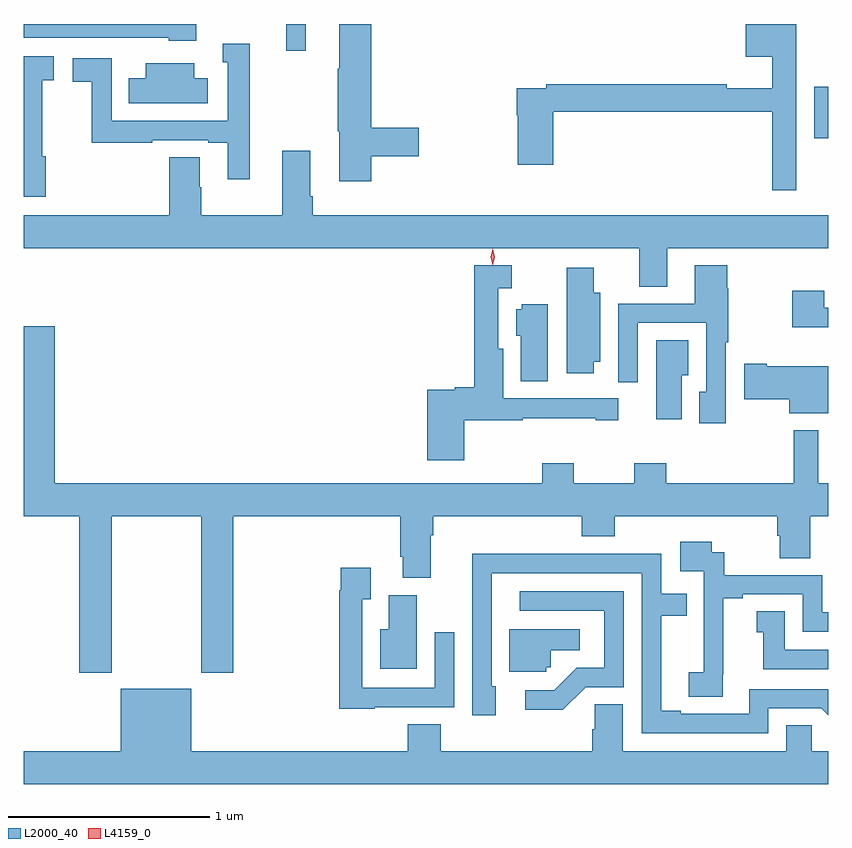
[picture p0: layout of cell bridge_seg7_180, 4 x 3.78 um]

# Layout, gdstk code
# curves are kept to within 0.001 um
import gdstk
lib = gdstk.Library(unit=1e-6, precision=1e-09)
def R(c, l, rs):  # rectangles x0, y0, x1, y1
    for r in rs: c.add(gdstk.rectangle(r[:2], r[2:], *l))
def P(c, l, *ps):  # polygons
    for p in ps: c.add(gdstk.Polygon(p, *l))
L2000_40 = (2000, 40)
L4159_0 = (4159, 0)

bridge_seg7_180 = lib.new_cell('bridge_seg7_180')
R(bridge_seg7_180, L2000_40, [(448.751,1054.445,448.821,1054.699), (446.127,1054.878,446.224,1055.012)])
P(bridge_seg7_180, L2000_40, [(448.663,1055.012),(448.412,1055.012),(448.412,1054.85),(448.542,1054.85),(448.542,1054.693),(448.316,1054.693),(448.316,1054.712),(447.418,1054.712),(447.418,1054.692),(447.272,1054.692),(447.272,1054.559),(447.277,1054.559),(447.277,1054.311),(447.455,1054.311),(447.455,1054.576),(448.542,1054.576),(448.542,1054.185),(448.663,1054.185)],
  [(446.549,1054.354),(446.785,1054.354),(446.785,1054.496),(446.549,1054.496),(446.549,1055.012),(446.39,1055.012),(446.39,1054.79),(446.383,1054.79),(446.383,1054.479),(446.39,1054.479),(446.39,1054.23),(446.549,1054.23)],
  [(445.678,1055.012),(444.821,1055.012),(444.821,1054.944),(445.542,1054.944),(445.542,1054.928),(445.678,1054.928)],
  [(445.945,1054.915),(445.811,1054.915),(445.811,1054.821),(445.836,1054.821),(445.836,1054.53),(445.257,1054.53),(445.257,1054.842),(445.065,1054.842),(445.065,1054.726),(445.159,1054.726),(445.159,1054.422),(445.46,1054.422),(445.46,1054.434),(445.739,1054.434),(445.739,1054.422),(445.835,1054.422),(445.835,1054.239),(445.945,1054.239)],
  [(444.929,1054.355),(444.912,1054.355),(444.912,1054.731),(444.97,1054.731),(444.97,1054.852),(444.821,1054.852),(444.821,1054.152),(444.929,1054.152)],
  [(445.735,1054.741),(445.669,1054.741),(445.669,1054.816),(445.427,1054.816),(445.427,1054.741),(445.342,1054.741),(445.342,1054.619),(445.735,1054.619)],
  [(446.105,1054.381),(446.105,1054.06),(445.704,1054.06),(445.704,1054.199),(445.696,1054.199),(445.696,1054.349),(445.544,1054.349),(445.544,1054.06),(444.821,1054.06),(444.821,1053.896),(447.881,1053.896),(447.881,1053.706),(448.021,1053.706),(448.021,1053.896),(448.821,1053.896),(448.821,1054.06),(446.258,1054.06),(446.258,1054.156),(446.245,1054.156),(446.245,1054.381)],
  [(448.311,1053.428),(448.324,1053.428),(448.324,1053.698),(448.32,1053.698),(448.32,1053.811),(448.157,1053.811),(448.157,1053.621),(447.777,1053.621),(447.777,1053.231),(447.873,1053.231),(447.873,1053.525),(448.215,1053.525),(448.215,1053.183),(448.181,1053.183),(448.181,1053.027),(448.311,1053.027)],
  [(447.011,1053.042),(447.301,1053.042),(447.301,1053.052),(447.665,1053.052),(447.665,1053.042),(447.777,1053.042),(447.777,1053.15),(447.205,1053.15),(447.205,1053.396),(447.181,1053.396),(447.181,1053.698),(447.247,1053.698),(447.247,1053.811),(447.06,1053.811),(447.06,1053.206),(446.963,1053.206),(446.963,1053.193),(446.828,1053.193),(446.828,1052.841),(447.011,1052.841)],
  [(447.655,1053.332),(447.688,1053.332),(447.688,1053.676),(447.655,1053.676),(447.655,1053.799),(447.521,1053.799),(447.521,1053.276),(447.655,1053.276)],
  [(448.821,1053.601),(448.802,1053.601),(448.802,1053.685),(448.642,1053.685),(448.642,1053.503),(448.821,1053.503)],
  [(447.427,1053.619),(447.297,1053.619),(447.297,1053.594),(447.269,1053.594),(447.269,1053.462),(447.293,1053.462),(447.293,1053.235),(447.427,1053.235)],
  [(445.257,1052.564),(445.702,1052.564),(445.702,1051.785),(445.862,1051.785),(445.862,1052.564),(446.693,1052.564),(446.693,1052.362),(446.705,1052.362),(446.705,1052.257),(446.845,1052.257),(446.845,1052.468),(446.858,1052.468),(446.858,1052.564),(447.596,1052.564),(447.596,1052.465),(447.761,1052.465),(447.761,1052.564),(448.568,1052.564),(448.568,1052.466),(448.58,1052.466),(448.58,1052.356),(448.733,1052.356),(448.733,1052.564),(448.821,1052.564),(448.821,1052.728),(448.772,1052.728),(448.772,1052.992),(448.651,1052.992),(448.651,1052.728),(448.016,1052.728),(448.016,1052.827),(447.856,1052.827),(447.856,1052.728),(447.555,1052.728),(447.555,1052.827),(447.4,1052.827),(447.4,1052.728),(444.974,1052.728),(444.974,1053.508),(444.821,1053.508),(444.821,1052.564),(445.097,1052.564),(445.097,1051.785),(445.257,1051.785)],
  [(448.093,1053.266),(448.126,1053.266),(448.126,1053.44),(447.965,1053.44),(447.965,1053.045),(448.093,1053.045)],
  [(448.821,1053.31),(448.516,1053.31),(448.516,1053.323),(448.404,1053.323),(448.404,1053.145),(448.628,1053.145),(448.628,1053.077),(448.821,1053.077)],
  [(448.298,1051.777),(448.3,1051.777),(448.3,1052.155),(448.396,1052.155),(448.396,1052.175),(448.695,1052.175),(448.695,1051.989),(448.821,1051.989),(448.821,1052.085),(448.791,1052.085),(448.791,1052.271),(448.304,1052.271),(448.304,1052.385),(448.242,1052.385),(448.242,1052.437),(448.086,1052.437),(448.086,1052.289),(448.203,1052.289),(448.203,1051.985),(448.202,1051.985),(448.202,1051.788),(448.128,1051.788),(448.128,1051.666),(448.298,1051.666)],
  [(448.524,1051.608),(448.788,1051.608),(448.821,1051.575),(448.821,1051.704),(448.428,1051.704),(448.428,1051.581),(448.087,1051.581),(448.087,1051.596),(447.991,1051.596),(447.991,1052.07),(448.118,1052.07),(448.118,1052.178),(447.99,1052.178),(447.99,1052.376),(447.512,1052.376),(447.512,1052.378),(447.05,1052.378),(447.051,1051.575),(447.169,1051.575),(447.169,1051.719),(447.147,1051.719),(447.147,1052.28),(447.894,1052.28),(447.894,1051.485),(448.524,1051.485)],
  [(446.565,1051.614),(446.961,1051.614),(446.961,1051.987),(446.865,1051.987),(446.865,1051.71),(446.505,1051.71),(446.505,1052.152),(446.545,1052.152),(446.545,1052.308),(446.397,1052.308),(446.397,1052.195),(446.389,1052.195),(446.389,1051.607),(446.565,1051.607)],
  [(447.615,1051.713),(447.804,1051.713),(447.804,1052.19),(447.288,1052.19),(447.288,1052.094),(447.708,1052.094),(447.708,1051.809),(447.57,1051.809),(447.459,1051.698),(447.315,1051.698),(447.315,1051.601),(447.502,1051.601)],
  [(446.776,1052.172),(446.636,1052.172),(446.636,1052.002),(446.594,1052.002),(446.594,1051.805),(446.776,1051.805)],
  [(448.821,1051.899),(448.606,1051.899),(448.606,1052.09),(448.466,1052.09),(448.466,1051.987),(448.499,1051.987),(448.499,1051.803),(448.821,1051.803)],
  [(447.42,1051.812),(447.441,1051.812),(447.441,1051.898),(447.586,1051.898),(447.586,1052.002),(447.236,1052.002),(447.236,1051.791),(447.42,1051.791)],
  [(448.821,1051.396),(448.74,1051.396),(448.74,1051.523),(448.613,1051.523),(448.613,1051.396),(447.799,1051.396),(447.799,1051.628),(447.66,1051.628),(447.66,1051.505),(447.647,1051.505),(447.647,1051.396),(446.894,1051.396),(446.894,1051.529),(446.729,1051.529),(446.729,1051.396),(445.654,1051.396),(445.654,1051.705),(445.304,1051.705),(445.304,1051.396),(444.821,1051.396),(444.821,1051.232),(448.821,1051.232)])
P(bridge_seg7_180, L4159_0, [(447.153,1053.812),(447.153,1053.812),(447.143,1053.853),(447.153,1053.893),(447.153,1053.893),(447.154,1053.893),(447.163,1053.853),(447.154,1053.812)])

lib.write_gds('bridge_seg7_180.gds')
